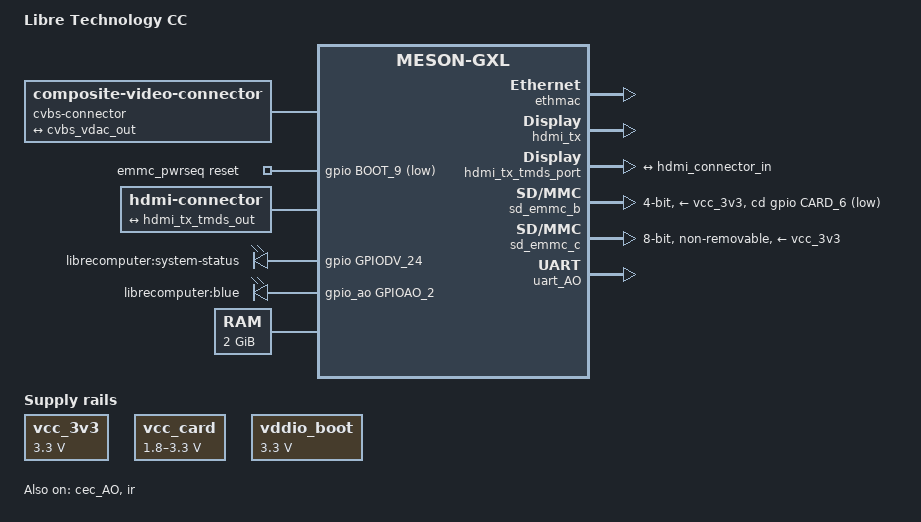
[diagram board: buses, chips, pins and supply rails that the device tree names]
/*
 * Copyright (c) 2017 BayLibre, SAS.
 * Author: Neil Armstrong <narmstrong@baylibre.com>
 * Author: Jerome Brunet <jbrunet@baylibre.com>
 *
 * SPDX-License-Identifier: (GPL-2.0+ OR MIT)
 */

/dts-v1/;

#include <dt-bindings/input/input.h>

#include "meson-gxl-s905x.dtsi"

/ {
	compatible = "libretech,cc", "amlogic,s905x", "amlogic,meson-gxl";
	model = "Libre Technology CC";

	aliases {
		serial0 = &uart_AO;
	};

	chosen {
		stdout-path = "serial0:115200n8";
	};

	cvbs-connector {
		compatible = "composite-video-connector";

		port {
			cvbs_connector_in: endpoint {
				remote-endpoint = <&cvbs_vdac_out>;
			};
		};
	};

	emmc_pwrseq: emmc-pwrseq {
		compatible = "mmc-pwrseq-emmc";
		reset-gpios = <&gpio BOOT_9 GPIO_ACTIVE_LOW>;
	};

	hdmi-connector {
		compatible = "hdmi-connector";
		type = "a";

		port {
			hdmi_connector_in: endpoint {
				remote-endpoint = <&hdmi_tx_tmds_out>;
			};
		};
	};

	leds {
		compatible = "gpio-leds";

		system {
			label = "librecomputer:system-status";
			gpios = <&gpio GPIODV_24 GPIO_ACTIVE_HIGH>;
			default-state = "on";
			panic-indicator;
		};

		blue {
			label = "librecomputer:blue";
			gpios = <&gpio_ao GPIOAO_2 GPIO_ACTIVE_HIGH>;
			linux,default-trigger = "heartbeat";
		};
	};

	memory@0 {
		device_type = "memory";
		reg = <0x0 0x0 0x0 0x80000000>;
	};

	vcc_3v3: regulator-vcc_3v3 {
		compatible = "regulator-fixed";
		regulator-name = "VCC_3V3";
		regulator-min-microvolt = <3300000>;
		regulator-max-microvolt = <3300000>;
	};

	vcc_card: regulator-vcc-card {
		compatible = "regulator-gpio";

		regulator-name = "VCC_CARD";
		regulator-min-microvolt = <1800000>;
		regulator-max-microvolt = <3300000>;

		gpios = <&gpio_ao GPIOAO_3 GPIO_ACTIVE_HIGH>;
		gpios-states = <0>;

		states = <3300000 0>,
			 <1800000 1>;

		regulator-settling-time-up-us = <200>;
		regulator-settling-time-down-us = <50000>;
	};

	vddio_boot: regulator-vddio_boot {
		compatible = "regulator-fixed";
		regulator-name = "VDDIO_BOOT";
		regulator-min-microvolt = <3300000>;
		regulator-max-microvolt = <3300000>;
	};
};

&cec_AO {
	status = "okay";
	pinctrl-0 = <&ao_cec_pins>;
	pinctrl-names = "default";
	hdmi-phandle = <&hdmi_tx>;
};

&cvbs_vdac_port {
	cvbs_vdac_out: endpoint {
		remote-endpoint = <&cvbs_connector_in>;
	};
};

&ethmac {
	status = "okay";
};

&ir {
	status = "okay";
	pinctrl-0 = <&remote_input_ao_pins>;
	pinctrl-names = "default";
};

&hdmi_tx {
	status = "okay";
	pinctrl-0 = <&hdmi_hpd_pins>, <&hdmi_i2c_pins>;
	pinctrl-names = "default";
};

&hdmi_tx_tmds_port {
	hdmi_tx_tmds_out: endpoint {
		remote-endpoint = <&hdmi_connector_in>;
	};
};

&pinctrl_aobus {
	gpio-line-names = "UART TX",
			  "UART RX",
			  "Blue LED",
			  "SDCard Voltage Switch",
			  "7J1 Header Pin5",
			  "7J1 Header Pin3",
			  "7J1 Header Pin12",
			  "IR In",
			  "9J3 Switch HDMI CEC/7J1 Header Pin11",
			  "7J1 Header Pin13";
};

&pinctrl_periphs {
	gpio-line-names = /* Bank GPIOZ */
			  "", "", "", "", "", "", "",
			  "", "", "", "", "", "", "",
			  "Eth Link LED", "Eth Activity LED",
			  /* Bank GPIOH */
			  "HDMI HPD", "HDMI SDA", "HDMI SCL",
			  "HDMI_5V_EN", "9J1 Header Pin2",
			  "Analog Audio Mute",
			  "2J3 Header Pin6",
			  "2J3 Header Pin5",
			  "2J3 Header Pin4",
			  "2J3 Header Pin3",
			  /* Bank BOOT */
			  "eMMC D0", "eMMC D1", "eMMC D2", "eMMC D3",
			  "eMMC D4", "eMMC D5", "eMMC D6", "eMMC D7",
			  "eMMC Clk", "eMMC Reset", "eMMC CMD",
			  "ALT BOOT MODE", "", "", "", "eMMC Data Strobe",
			  /* Bank CARD */
			  "SDCard D1", "SDCard D0", "SDCard CLK", "SDCard CMD",
			  "SDCard D3", "SDCard D2", "SDCard Det",
			  /* Bank GPIODV */
			  "", "", "", "", "", "", "", "", "", "", "", "",
			  "", "", "", "", "", "", "", "", "", "", "", "",
			  "Green LED", "VCCK Enable",
			  "7J1 Header Pin27", "7J1 Header Pin28",
			  "VCCK Regulator", "VDDEE Regulator",
			  /* Bank GPIOX */
			  "7J1 Header Pin22", "7J1 Header Pin26",
			  "7J1 Header Pin36", "7J1 Header Pin38",
			  "7J1 Header Pin40", "7J1 Header Pin37",
			  "7J1 Header Pin33", "7J1 Header Pin35",
			  "7J1 Header Pin19", "7J1 Header Pin21",
			  "7J1 Header Pin24", "7J1 Header Pin23",
			  "7J1 Header Pin8", "7J1 Header Pin10",
			  "7J1 Header Pin16", "7J1 Header Pin18",
			  "7J1 Header Pin32", "7J1 Header Pin29",
			  "7J1 Header Pin31",
			  /* Bank GPIOCLK */
			  "7J1 Header Pin7", "",
			  /* GPIO_TEST_N */
			  "7J1 Header Pin15";
};

/* SD card */
&sd_emmc_b {
	status = "okay";
	pinctrl-0 = <&sdcard_pins>;
	pinctrl-1 = <&sdcard_clk_gate_pins>;
	pinctrl-names = "default", "clk-gate";

	bus-width = <4>;
	cap-sd-highspeed;
	max-frequency = <100000000>;
	disable-wp;

	cd-gpios = <&gpio CARD_6 GPIO_ACTIVE_HIGH>;
	cd-inverted;

	vmmc-supply = <&vcc_3v3>;
	vqmmc-supply = <&vcc_card>;
};

/* eMMC */
&sd_emmc_c {
	status = "okay";
	pinctrl-0 = <&emmc_pins>;
	pinctrl-1 = <&emmc_clk_gate_pins>;
	pinctrl-names = "default", "clk-gate";

	bus-width = <8>;
	cap-mmc-highspeed;
	mmc-ddr-3_3v;
	max-frequency = <50000000>;
	non-removable;
	disable-wp;

	mmc-pwrseq = <&emmc_pwrseq>;
	vmmc-supply = <&vcc_3v3>;
	vqmmc-supply = <&vddio_boot>;
};

&uart_AO {
	status = "okay";
	pinctrl-0 = <&uart_ao_a_pins>;
	pinctrl-names = "default";
};
